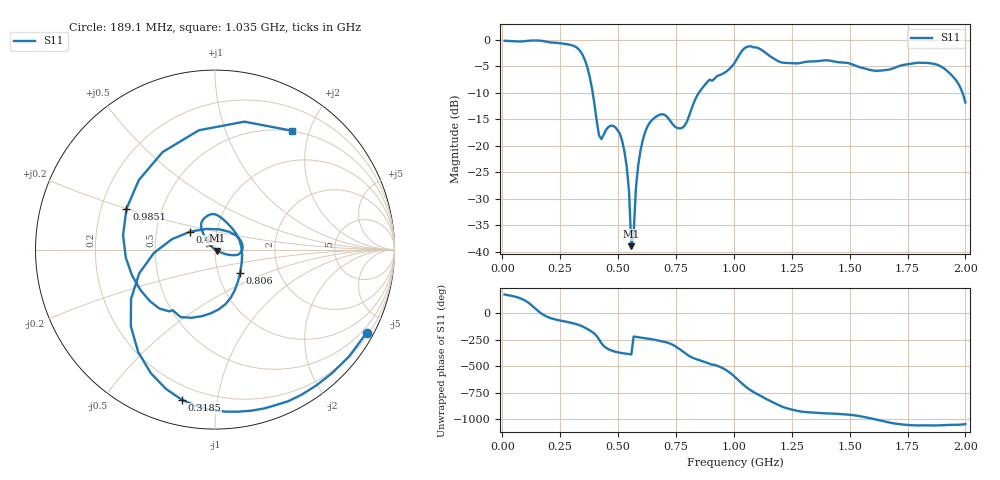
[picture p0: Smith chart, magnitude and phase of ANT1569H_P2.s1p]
!Created with skrf (http://scikit-rf.org).
# Hz S RI R 50.0
!freq ReS11 ImS11
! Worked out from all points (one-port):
!   201 points, 10 MHz to 2 GHz, reference 50 ohm
!   lowest |S11| = -39.0 dB at 557.2 MHz (marker M1), VSWR 1.02, Z = 51 - j0.562 ohm
!   |S11| at or under -10 dB: 390.4 MHz to 848.7 MHz (458.2 MHz wide, 74 % of centre); 1.988 GHz to end of sweep
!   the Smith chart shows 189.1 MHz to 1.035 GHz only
!   S11 on the Smith chart (normalised r, x): 189.1 MHz: 0.30, -3.87; 318.4 MHz: 0.13, -0.80; 408 MHz: 0.74, +0.15; 806 MHz: 1.28, -0.34; 985.1 MHz: 0.31, +0.20; 1.035 GHz: 0.49, +1.73
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1e7  -0.9804 0.0706
7.965e7  -0.7268 0.6385
1.1945e8  0.0387 0.9853
1.493e8  0.8507 0.504
1.891e8  0.8441 -0.4642
2.5875e8  0.2718 -0.8856
3.1845e8  -0.1842 -0.8369
3.682e8  -0.4676 -0.274
4.08e8  -0.1381 0.1003
5.075e8  0.1275 -0.0289
5.3735e8  0.0583 -0.0252
5.5725e8  0.00983 -0.00551
5.871e8  -0.0444 0.0483
6.1695e8  -0.0743 0.1127
7.5625e8  0.1201 0.085
8.06e8  0.1406 -0.1277
9.254e8  -0.3103 -0.3284
9.851e8  -0.4933 0.2274
1.005e9  -0.2917 0.5436
1.03485e9  0.4275 0.6625
1.07465e9  0.8587 -0.1474
1.1244e9  0.2629 -0.7468
1.1841e9  -0.4706 -0.4392
1.25375e9  -0.5908 0.1141
1.5025e9  -0.3113 0.5101
1.75125e9  0.5308 0.2594
1.9005e9  0.5052 0.2229
2e9  0.2132 0.1427
